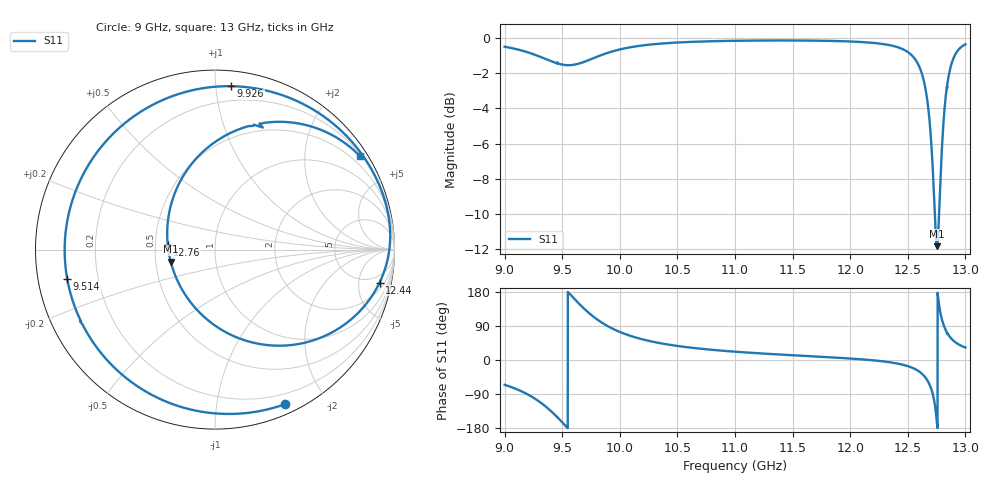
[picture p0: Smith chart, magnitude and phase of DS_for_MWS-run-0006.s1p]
! TOUCHSTONE file generated by CST DESIGN STUDIO
! Date and time: Tue Feb  4 18:17:58 2025
! Project name: C:\Work\MatlabApps\UnitCellOptimizationMatlab\CST\unitcell.cst
! Tree item: Tasks\Sweep1\SPara1\S-Parameters
! Header version: 2024
! Port assignment regex: !\s*Touchstone port\s*([0-9]+)\s*=\s*(CST MWS port|CST DES external port|CST DES block port)\s*(.+)\s* \(\"(.*)\"\)(\s*mode\s*([0-9]+))?.*
! Touchstone port assignment:
! Touchstone port 1 = CST DES external port 1 ("")
# GHz S MA R 50
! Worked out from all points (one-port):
!   4001 points, 9 GHz to 13 GHz, reference 50 ohm
!   lowest |S11| = -11.8 dB at 12.75 GHz (marker M1), VSWR 1.69, Z = 30 - j4.28 ohm
!   |S11| at or under -10 dB: 12.73453 GHz to 12.77167 GHz (37.13 MHz wide, 0.291 % of centre)
!   S11 on the Smith chart (normalised r, x): 9 GHz: 0.10, -1.55; 9.514 GHz: 0.09, -0.10; 9.926 GHz: 0.10, +1.10; 12.44 GHz: 3.07, -9.02; 12.76 GHz: 0.58, +0.03; 13 GHz: 0.25, +3.37
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9  0.9455 -65.6
9.143  0.9233 -82.1
9.293  0.8892 -108.1
9.395  0.8619 -132.8
9.5  0.8409 -164.3
9.514  0.8395 -168.8
9.609  0.841 160.1
9.722  0.864 126.7
9.815  0.8887 104.5
9.926  0.9149 84.4
10  0.9287 74.0
10.216  0.9551 53.0
10.5  0.9719 37.1
11  0.983 21.9
11.5  0.985 12.6
12  0.9785 3.9
12.441  0.9351 -11.4
12.5  0.9133 -16.2
12.607  0.8189 -32.3
12.681  0.6179 -59.8
12.718  0.4167 -91.2
12.753  0.2558 -164.9
12.76  0.2644 174.6
12.78  0.3701 129.2
12.802  0.5253 100.6
12.839  0.7256 72.6
12.909  0.8948 47.8
13  0.9603 32.9
